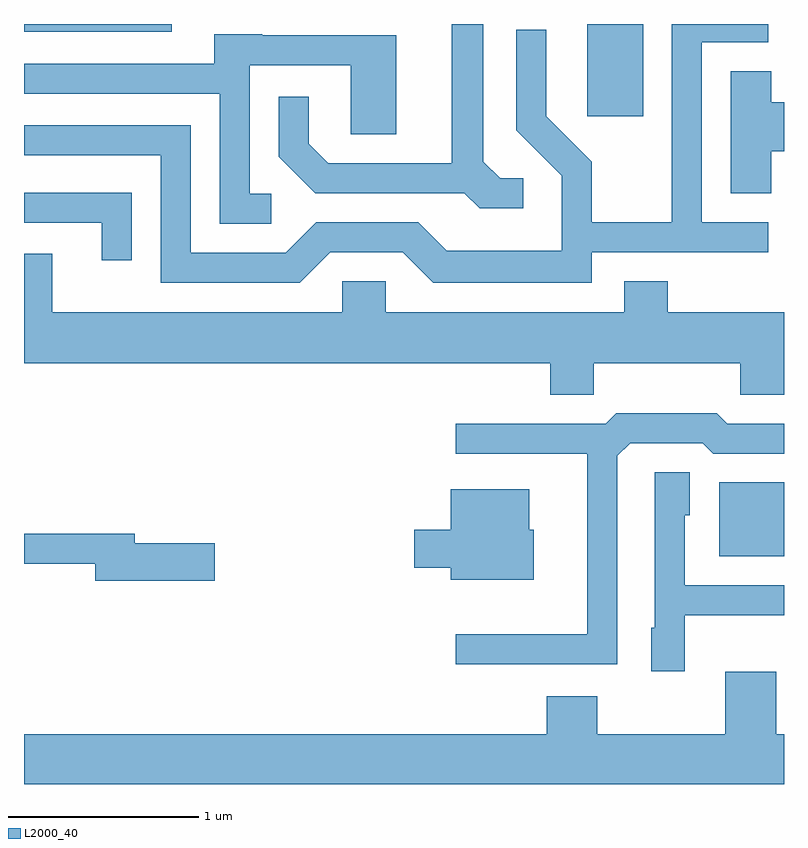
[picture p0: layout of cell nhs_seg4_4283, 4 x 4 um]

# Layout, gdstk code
import gdstk
lib = gdstk.Library(unit=1e-6, precision=1e-09)
def R(c, l, rs):  # rectangles x0, y0, x1, y1
    for r in rs: c.add(gdstk.rectangle(r[:2], r[2:], *l))
def P(c, l, *ps):  # polygons
    for p in ps: c.add(gdstk.Polygon(p, *l))
L2000_40 = (2000, 40)

nhs_seg4_4283 = lib.new_cell('nhs_seg4_4283')
R(nhs_seg4_4283, L2000_40, [(313.271,1389.181,313.611,1389.569), (312.576,1391.496,312.869,1391.982), (309.611,1391.941,310.389,1391.982)])
P(nhs_seg4_4283, L2000_40, [(312.238,1391.169),(312.117,1391.169),(312.029,1391.257),(312.029,1391.982),(311.861,1391.982),(311.861,1391.249),(311.212,1391.249),(311.109,1391.352),(311.109,1391.598),(310.951,1391.598),(310.951,1391.284),(311.144,1391.091),(311.929,1391.091),(312.009,1391.011),(312.238,1391.011)],
  [(311.222,1390.781),(311.604,1390.781),(311.764,1390.621),(312.599,1390.621),(312.599,1390.781),(313.528,1390.781),(313.528,1390.939),(313.179,1390.939),(313.179,1391.886),(313.528,1391.886),(313.528,1391.982),(313.021,1391.982),(313.021,1390.939),(312.599,1390.939),(312.599,1391.257),(312.359,1391.497),(312.359,1391.953),(312.201,1391.953),(312.201,1391.424),(312.441,1391.184),(312.441,1390.789),(311.837,1390.789),(311.687,1390.939),(311.149,1390.939),(310.989,1390.779),(310.489,1390.779),(310.489,1391.449),(309.611,1391.449),(309.611,1391.291),(310.331,1391.291),(310.331,1390.621),(311.062,1390.621)],
  [(310.913,1391.089),(310.799,1391.089),(310.799,1391.766),(311.331,1391.766),(311.331,1391.401),(311.569,1391.401),(311.569,1391.924),(310.865,1391.924),(310.865,1391.929),(310.611,1391.929),(310.611,1391.774),(309.611,1391.774),(309.611,1391.616),(310.641,1391.616),(310.641,1390.931),(310.913,1390.931)],
  [(313.544,1391.311),(313.611,1391.311),(313.611,1391.569),(313.544,1391.569),(313.544,1391.734),(313.331,1391.734),(313.331,1391.091),(313.544,1391.091)],
  [(310.179,1391.094),(309.611,1391.094),(309.611,1390.936),(310.021,1390.936),(310.021,1390.738),(310.179,1390.738)],
  [(312.771,1390.629),(312.771,1390.464),(311.514,1390.464),(311.514,1390.629),(311.286,1390.629),(311.286,1390.464),(309.759,1390.464),(309.759,1390.774),(309.611,1390.774),(309.611,1390.196),(312.381,1390.196),(312.381,1390.031),(312.609,1390.031),(312.609,1390.196),(313.381,1390.196),(313.381,1390.031),(313.611,1390.031),(313.611,1390.464),(312.999,1390.464),(312.999,1390.629)],
  [(312.734,1389.709),(312.802,1389.776),(313.184,1389.776),(313.239,1389.721),(313.611,1389.721),(313.611,1389.879),(313.312,1389.879),(313.257,1389.934),(312.729,1389.934),(312.674,1389.879),(311.883,1389.879),(311.883,1389.721),(312.576,1389.721),(312.576,1388.769),(311.883,1388.769),(311.883,1388.611),(312.734,1388.611)],
  [(313.089,1388.871),(313.611,1388.871),(313.611,1389.029),(313.089,1389.029),(313.089,1389.396),(313.114,1389.396),(313.114,1389.624),(312.931,1389.624),(312.931,1388.804),(312.911,1388.804),(312.911,1388.576),(313.089,1388.576)],
  [(312.294,1389.319),(312.269,1389.319),(312.269,1389.534),(311.856,1389.534),(311.856,1389.319),(311.666,1389.319),(311.666,1389.121),(311.856,1389.121),(311.856,1389.056),(312.294,1389.056)],
  [(310.614,1389.249),(310.194,1389.249),(310.194,1389.299),(309.611,1389.299),(309.611,1389.141),(309.986,1389.141),(309.986,1389.051),(310.614,1389.051)],
  [(313.611,1388.244),(313.569,1388.244),(313.569,1388.574),(313.301,1388.574),(313.301,1388.244),(312.629,1388.244),(312.629,1388.444),(312.361,1388.444),(312.361,1388.244),(309.611,1388.244),(309.611,1387.982),(313.611,1387.982)])

lib.write_gds('nhs_seg4_4283.gds')
